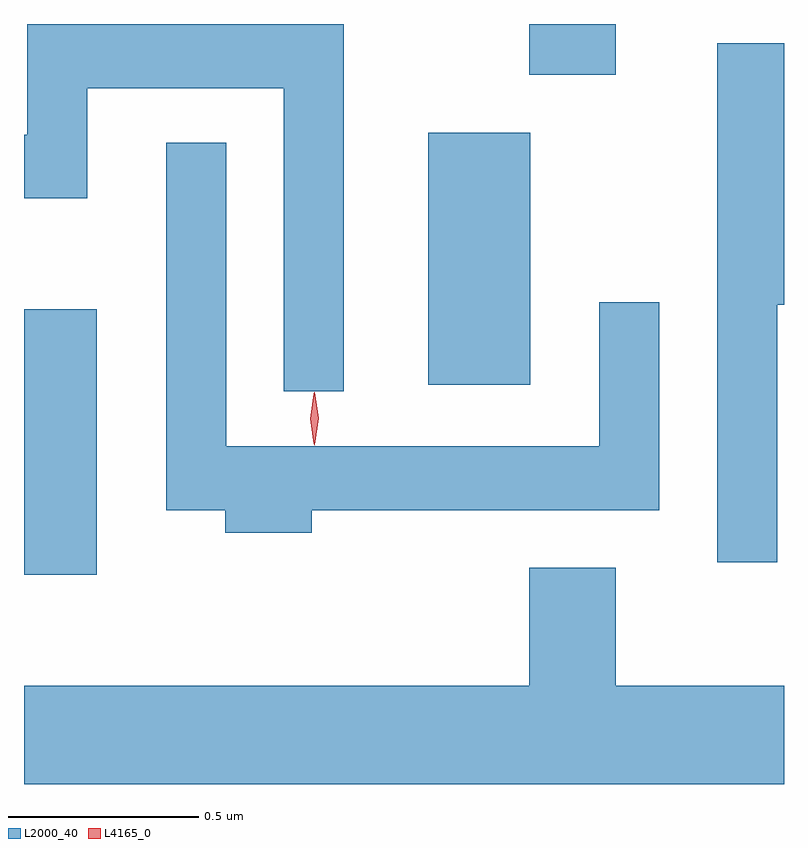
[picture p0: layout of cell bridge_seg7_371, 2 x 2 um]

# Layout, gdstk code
import gdstk
lib = gdstk.Library(unit=1e-6, precision=1e-09)
def R(c, l, rs):  # rectangles x0, y0, x1, y1
    for r in rs: c.add(gdstk.rectangle(r[:2], r[2:], *l))
def P(c, l, *ps):  # polygons
    for p in ps: c.add(gdstk.Polygon(p, *l))
L2000_40 = (2000, 40)
L4165_0 = (4165, 0)

bridge_seg7_371 = lib.new_cell('bridge_seg7_371')
R(bridge_seg7_371, L2000_40, [(1193.212,1765.936,1193.404,1766.634), (1194.276,1766.436,1194.544,1767.099), (1194.541,1767.251,1194.769,1767.385)])
P(bridge_seg7_371, L2000_40, [(1194.054,1767.384),(1193.221,1767.384),(1193.221,1767.094),(1193.212,1767.094),(1193.212,1766.926),(1193.379,1766.926),(1193.379,1767.216),(1193.896,1767.216),(1193.896,1766.418),(1194.054,1766.418)],
  [(1195.194,1766.646),(1195.212,1766.646),(1195.212,1767.334),(1195.036,1767.334),(1195.036,1765.968),(1195.194,1765.968)],
  [(1193.969,1766.106),(1194.884,1766.106),(1194.884,1766.653),(1194.726,1766.653),(1194.726,1766.274),(1193.744,1766.274),(1193.744,1767.073),(1193.586,1767.073),(1193.586,1766.106),(1193.741,1766.106),(1193.741,1766.046),(1193.969,1766.046)],
  [(1195.212,1765.644),(1194.769,1765.644),(1194.769,1765.954),(1194.541,1765.954),(1194.541,1765.644),(1193.212,1765.644),(1193.212,1765.385),(1195.212,1765.385)])
P(bridge_seg7_371, L4165_0, [(1193.977,1766.277),(1193.976,1766.278),(1193.967,1766.347),(1193.976,1766.416),(1193.977,1766.416),(1193.977,1766.416),(1193.987,1766.347),(1193.977,1766.278)],
  [(1193.974,1766.28),(1193.974,1766.28),(1193.965,1766.346),(1193.974,1766.412),(1193.975,1766.413),(1193.975,1766.412),(1193.984,1766.346),(1193.975,1766.28)])

lib.write_gds('bridge_seg7_371.gds')
